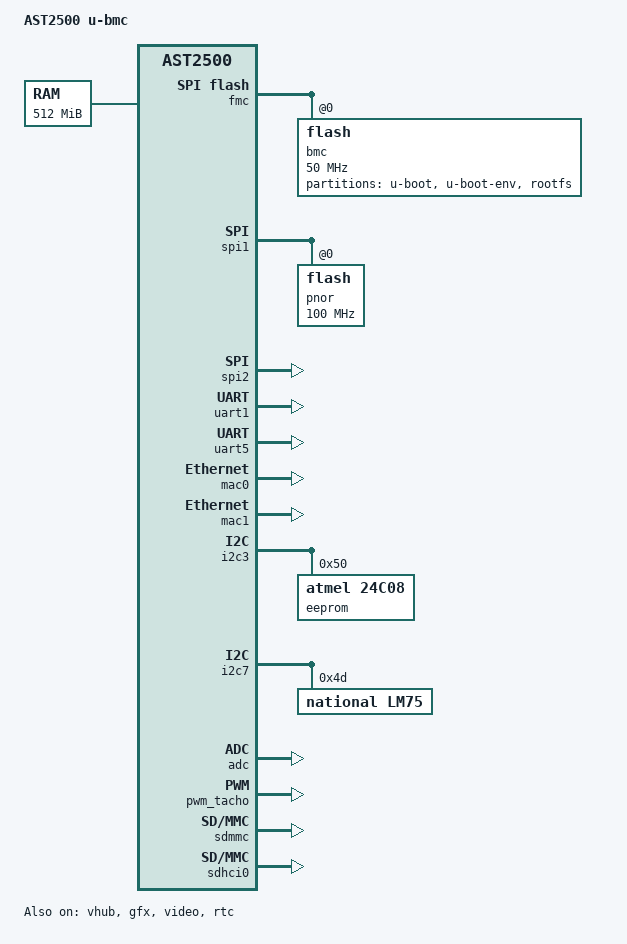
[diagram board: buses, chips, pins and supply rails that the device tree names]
// SPDX-License-Identifier: GPL-2.0+
/dts-v1/;

#include "aspeed-g5.dtsi"

/ {
	model = "AST2500 u-bmc";
	compatible = "aspeed,ast2500-u-bmc", "aspeed,ast2500";

	aliases {
		serial4 = &uart5;
	};

	chosen {
		stdout-path = &uart5;
		bootargs = "console=tty0 console=ttyS4,115200 earlycon";
	};

	memory@80000000 {
		reg = <0x80000000 0x20000000>;
	};

	reserved-memory {
		#address-cells = <1>;
		#size-cells = <1>;
		ranges;

		gfx_memory: framebuffer {
			size = <0x01000000>;
			alignment = <0x01000000>;
			compatible = "shared-dma-pool";
			reusable;
		};
	};
};

&fmc {
	status = "okay";
	flash@0 {
		status = "okay";
		m25p,fast-read;
		label = "bmc";
		spi-max-frequency = <50000000>;
    partitions {
      compatible = "fixed-partitions";
      #address-cells = <0x01>;
      #size-cells = <0x01>;

      u-boot@0 {
        reg = <0x00 0xC0000>;
        label = "u-boot";
      };

      u-boot-env@C0000 {
        reg = <0xC0000 0x10000>;
        label = "u-boot-env";
      };

      rootfs@D0000 {
        reg = <0xD0000 0x3F30000>;
        label = "rootfs";
      };
    };
	};
};

&spi1 {
	status = "okay";
	flash@0 {
		status = "okay";
		m25p,fast-read;
		label = "pnor";
		spi-max-frequency = <100000000>;
	};
};

&spi2 {
	status = "okay";
};

&uart1 {
  status = "okay";
};

&uart5 {
	status = "okay";
};

&mac0 {
	status = "okay";
	pinctrl-names = "default";
	pinctrl-0 = <&pinctrl_rgmii1_default &pinctrl_mdio1_default>;
};

&mac1 {
	status = "okay";
	pinctrl-names = "default";
	pinctrl-0 = <&pinctrl_rgmii2_default &pinctrl_mdio2_default>;
  use-ncsi;
};

&i2c3 {
	status = "okay";

	eeprom@50 {
		compatible = "atmel,24c08";
		reg = <0x50>;
		pagesize = <16>;
	};
};

&i2c7 {
	status = "okay";

	lm75@4d {
		compatible = "national,lm75";
		reg = <0x4d>;
	};
};

&adc {
  status = "okay";
};

&pwm_tacho {
  status= "okay";
  pinctrl-names = "default";
};

&sdmmc {
	status = "okay";
};

&sdhci0 {
	status = "okay";
	pinctrl-names = "default";
	pinctrl-0 = <&pinctrl_sd1_default>;
};

&vhub {
	status = "okay";
};

&gfx {
  status = "okay";
  memory-region = <&gfx_memory>;
};

&video {
  status = "okay";
  memory-region = <&gfx_memory>;
};

&rtc {
	status = "okay";
};

&xdma {
  status = "okay";
};

&gpio {
  status = "okay";
};

